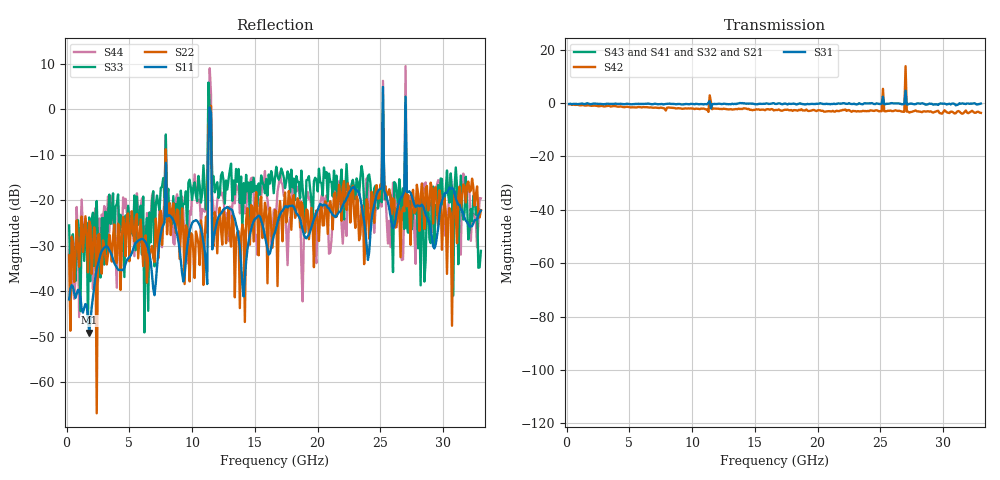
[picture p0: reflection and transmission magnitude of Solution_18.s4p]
# GHZ S RI R 50
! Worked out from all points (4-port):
!   329 points, 200 MHz to 33 GHz, reference 50 ohm
!   strongest paths, dB at 200 MHz, 8.4 GHz, 16.6 GHz, 24.8 GHz, 33 GHz:
!     S31: -0.4, -0.4, -0.3, -0.2, -0.2
!     S42: -0.5, -1.8, -2.6, -2.9, -3.7
!     S43: -, -, -, -, -
!     S41: -, -, -, -, -
!     S32: -, -, -, -, -
!     S21: -, -, -, -, -
!   lowest |S11| = -49.1 dB at 1.8 GHz (marker M1), VSWR 1.01, Z = 49.8 + j0.278 ohm
!   |S11| at or under -10 dB: start of sweep to 11.29 GHz; 11.53 GHz to 25.13 GHz (13.6 GHz wide, 74.2 % of centre); 27.06 GHz to end of sweep (the widest 3 of 4)
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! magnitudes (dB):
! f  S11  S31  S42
! 200 MHz  -41.8  -0.4  -0.5
! 1.8 GHz  -49.1  -0.3  -0.9
! 2.4 GHz  -35.2  -0.3  -1.1
! 2.5 GHz  -34.0  -0.3  -1.2
! 11.5 GHz  -0.9  -2.0  0.3
! 14.2 GHz  -37.0  -0.1  -2.0
! 33 GHz  -22.3  -0.2  -3.7
